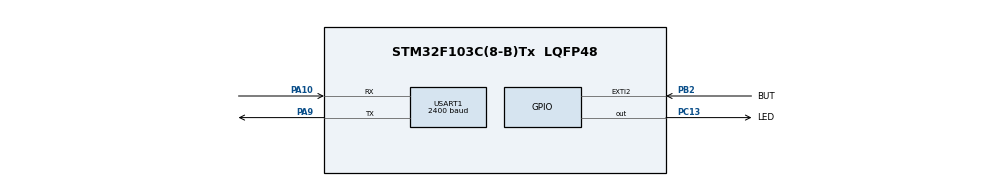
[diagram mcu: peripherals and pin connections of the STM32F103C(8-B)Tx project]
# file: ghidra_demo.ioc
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Mcu.Family=STM32F1
Mcu.Name=STM32F103C(8-B)Tx
Mcu.Package=LQFP48
NVIC.EXTI2_IRQn=true\:1\:0\:true\:false\:true\:true\:true
NVIC.PriorityGroup=NVIC_PRIORITYGROUP_4
PA10.Mode=Asynchronous
PA10.Signal=USART1_RX
PA13.Mode=Serial_Wire
PA13.Signal=SYS_JTMS-SWDIO
PA14.Mode=Serial_Wire
PA14.Signal=SYS_JTCK-SWCLK
PA9.Mode=Asynchronous
PA9.Signal=USART1_TX
PB2.GPIO_Label=BUT
PB2.Signal=GPXTI2
PC13-TAMPER-RTC.GPIO_Label=LED
PC13-TAMPER-RTC.GPIO_Speed=GPIO_SPEED_FREQ_MEDIUM
PC13-TAMPER-RTC.Signal=GPIO_Output
ProjectManager.HeapSize=0x200
ProjectManager.StackSize=0x400
ProjectManager.TargetToolchain=SW4STM32
RCC.AHBFreq_Value=64000000
RCC.APB1CLKDivider=RCC_HCLK_DIV2
RCC.APB1Freq_Value=32000000
RCC.APB1TimFreq_Value=64000000
RCC.APB2Freq_Value=64000000
RCC.APB2TimFreq_Value=64000000
RCC.HCLKFreq_Value=64000000
RCC.PLLMUL=RCC_PLL_MUL16
RCC.SYSCLKFreq_VALUE=64000000
RCC.SYSCLKSource=RCC_SYSCLKSOURCE_PLLCLK
RCC.USBFreq_Value=64000000
USART1.BaudRate=2400
USART1.Mode=MODE_TX
USART1.Parity=PARITY_EVEN
USART1.VirtualMode=VM_ASYNC
USART1.WordLength=WORDLENGTH_9B
board=custom

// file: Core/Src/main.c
/* USER CODE BEGIN Header */
/**
  ******************************************************************************
  * @file           : main.c
  * @brief          : Main program body
  ******************************************************************************
  * @attention
  *
  * <h2><center>&copy; Copyright (c) 2021 STMicroelectronics.
  * All rights reserved.</center></h2>
  *
  * This software component is licensed by ST under BSD 3-Clause license,
  * the "License"; You may not use this file except in compliance with the
  * License. You may obtain a copy of the License at:
  *                        opensource.org/licenses/BSD-3-Clause
  *
  ******************************************************************************
  */
/* USER CODE END Header */
#include "main.h"

/* USER CODE BEGIN Includes */
#include <stddef.h>
#include <string.h>
/* USER CODE END Includes */

/* USER CODE BEGIN PV */
volatile uint8_t activated = 0;
const char *wait_str = "Awaiting input...\n";
const char *active_str = "v=dQw4w9WgXcQ\n";
/* USER CODE END PV */

void SystemClock_Config(void);
static void MX_GPIO_Init(void);
static void MX_USART1_UART_Init(void);
/* USER CODE BEGIN PFP */
int uart_transmit(uint8_t *data, size_t size);
/* USER CODE END PFP */

int main(void)
{
  /* USER CODE BEGIN 1 */
	const char *str_to_send;
  /* USER CODE END 1 */

  /* MCU Configuration--------------------------------------------------------*/

  /* Reset of all peripherals, Initializes the Flash interface and the Systick. */

  LL_APB2_GRP1_EnableClock(LL_APB2_GRP1_PERIPH_AFIO);
  LL_APB1_GRP1_EnableClock(LL_APB1_GRP1_PERIPH_PWR);

  NVIC_SetPriorityGrouping(NVIC_PRIORITYGROUP_4);

  /* System interrupt init*/

  /** NOJTAG: JTAG-DP Disabled and SW-DP Enabled
  */
  LL_GPIO_AF_Remap_SWJ_NOJTAG();

  /* Configure the system clock */
  SystemClock_Config();

  /* Initialize all configured peripherals */
  MX_GPIO_Init();
  MX_USART1_UART_Init();

  /* Infinite loop */
  /* USER CODE BEGIN WHILE */
  while (1)
  {
	  str_to_send = activated ? active_str : wait_str;
	  uart_transmit((uint8_t *) str_to_send, strlen(str_to_send));
	  LL_GPIO_TogglePin(LED_GPIO_Port, LED_Pin);
	  LL_mDelay(100);
    /* USER CODE END WHILE */

  }
}

void SystemClock_Config(void)
{
  LL_FLASH_SetLatency(LL_FLASH_LATENCY_2);
  while(LL_FLASH_GetLatency()!= LL_FLASH_LATENCY_2)
  {
  }
  LL_RCC_HSI_SetCalibTrimming(16);
  LL_RCC_HSI_Enable();

   /* Wait till HSI is ready */
  while(LL_RCC_HSI_IsReady() != 1)
  {

  }
  LL_RCC_PLL_ConfigDomain_SYS(LL_RCC_PLLSOURCE_HSI_DIV_2, LL_RCC_PLL_MUL_16);
  LL_RCC_PLL_Enable();

   /* Wait till PLL is ready */
  while(LL_RCC_PLL_IsReady() != 1)
  {

  }
  LL_RCC_SetAHBPrescaler(LL_RCC_SYSCLK_DIV_1);
  LL_RCC_SetAPB1Prescaler(LL_RCC_APB1_DIV_2);
  LL_RCC_SetAPB2Prescaler(LL_RCC_APB2_DIV_1);
  LL_RCC_SetSysClkSource(LL_RCC_SYS_CLKSOURCE_PLL);

   /* Wait till System clock is ready */
  while(LL_RCC_GetSysClkSource() != LL_RCC_SYS_CLKSOURCE_STATUS_PLL)
  {

  }
  LL_Init1msTick(64000000);
  LL_SetSystemCoreClock(64000000);
}

static void MX_USART1_UART_Init(void)
{

  LL_USART_InitTypeDef USART_InitStruct = {0};

  LL_GPIO_InitTypeDef GPIO_InitStruct = {0};

  /* Peripheral clock enable */
  LL_APB2_GRP1_EnableClock(LL_APB2_GRP1_PERIPH_USART1);

  LL_APB2_GRP1_EnableClock(LL_APB2_GRP1_PERIPH_GPIOA);
  /**USART1 GPIO Configuration
  PA9   ------> USART1_TX
  PA10   ------> USART1_RX
  */
  GPIO_InitStruct.Pin = LL_GPIO_PIN_9;
  GPIO_InitStruct.Mode = LL_GPIO_MODE_ALTERNATE;
  GPIO_InitStruct.Speed = LL_GPIO_SPEED_FREQ_HIGH;
  GPIO_InitStruct.OutputType = LL_GPIO_OUTPUT_PUSHPULL;
  LL_GPIO_Init(GPIOA, &GPIO_InitStruct);

  GPIO_InitStruct.Pin = LL_GPIO_PIN_10;
  GPIO_InitStruct.Mode = LL_GPIO_MODE_FLOATING;
  LL_GPIO_Init(GPIOA, &GPIO_InitStruct);

  USART_InitStruct.BaudRate = 2400;
  USART_InitStruct.DataWidth = LL_USART_DATAWIDTH_9B;
  USART_InitStruct.StopBits = LL_USART_STOPBITS_1;
  USART_InitStruct.Parity = LL_USART_PARITY_EVEN;
  USART_InitStruct.TransferDirection = LL_USART_DIRECTION_TX;
  USART_InitStruct.HardwareFlowControl = LL_USART_HWCONTROL_NONE;
  USART_InitStruct.OverSampling = LL_USART_OVERSAMPLING_16;
  LL_USART_Init(USART1, &USART_InitStruct);
  LL_USART_ConfigAsyncMode(USART1);
  LL_USART_Enable(USART1);

}

static void MX_GPIO_Init(void)
{
  LL_EXTI_InitTypeDef EXTI_InitStruct = {0};
  LL_GPIO_InitTypeDef GPIO_InitStruct = {0};

  /* GPIO Ports Clock Enable */
  LL_APB2_GRP1_EnableClock(LL_APB2_GRP1_PERIPH_GPIOC);
  LL_APB2_GRP1_EnableClock(LL_APB2_GRP1_PERIPH_GPIOB);
  LL_APB2_GRP1_EnableClock(LL_APB2_GRP1_PERIPH_GPIOA);

  /**/
  LL_GPIO_ResetOutputPin(LED_GPIO_Port, LED_Pin);

  /**/
  GPIO_InitStruct.Pin = LED_Pin;
  GPIO_InitStruct.Mode = LL_GPIO_MODE_OUTPUT;
  GPIO_InitStruct.Speed = LL_GPIO_SPEED_FREQ_MEDIUM;
  GPIO_InitStruct.OutputType = LL_GPIO_OUTPUT_PUSHPULL;
  LL_GPIO_Init(LED_GPIO_Port, &GPIO_InitStruct);

  /**/
  LL_GPIO_AF_SetEXTISource(LL_GPIO_AF_EXTI_PORTB, LL_GPIO_AF_EXTI_LINE2);

  /**/
  EXTI_InitStruct.Line_0_31 = LL_EXTI_LINE_2;
  EXTI_InitStruct.LineCommand = ENABLE;
  EXTI_InitStruct.Mode = LL_EXTI_MODE_IT;
  EXTI_InitStruct.Trigger = LL_EXTI_TRIGGER_RISING;
  LL_EXTI_Init(&EXTI_InitStruct);

  /**/
  LL_GPIO_SetPinMode(BUT_GPIO_Port, BUT_Pin, LL_GPIO_MODE_FLOATING);

  /* EXTI interrupt init*/
  NVIC_SetPriority(EXTI2_IRQn, NVIC_EncodePriority(NVIC_GetPriorityGrouping(),1, 0));
  NVIC_EnableIRQ(EXTI2_IRQn);

}

/* USER CODE BEGIN 4 */
int uart_transmit(uint8_t *data, size_t size)
{
	size_t i = 0;

	if (data == NULL)
	{
		return -1;
	}

	while (i < size)
	{
		LL_USART_TransmitData8(USART1, data[i]);
		while (!LL_USART_IsActiveFlag_TXE(USART1));
		i++;
	}

	return 0;
}
/* USER CODE END 4 */

void Error_Handler(void)
{
  __disable_irq();
  while (1)
  {
  }
}

/************************ (C) COPYRIGHT STMicroelectronics *****END OF FILE****/
